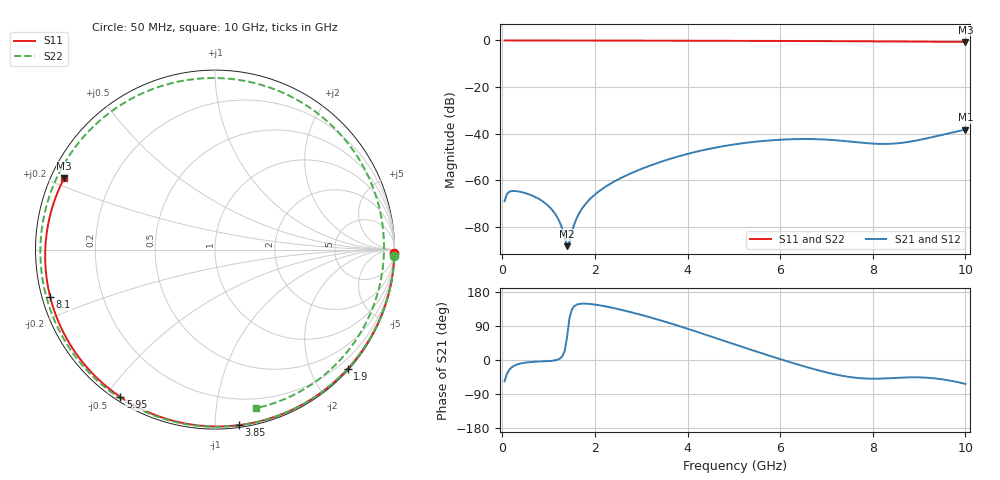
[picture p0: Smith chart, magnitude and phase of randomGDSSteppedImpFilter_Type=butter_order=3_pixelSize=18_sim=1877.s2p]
! freq	dB(S11)	phase(S11)	dB(S12)	phase(S12)
!  dB(S21)	phase(S21)	dB(S22)	phase(S22)
!S-par simulation data
#  GHz  S  DB  R 50
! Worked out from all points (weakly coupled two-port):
!   200 points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, 50 MHz to 10 GHz, reference 50 ohm
!   highest |S21| = -38.29 dB at 10 GHz (marker M1); lowest = -88.3 dB at 1.4 GHz (marker M2)
!   lowest |S11| = -0.6 dB at 10 GHz (marker M3), VSWR 27.52, Z = 1.91 + j11.3 ohm
!   |S11| at or under -10 dB: nowhere
!   |S22| runs from -0.8 to 0.0 dB; largest |S21 - S12| = 0
!   S11 on the Smith chart (normalised r, x): 50 MHz: open; 1.9 GHz: 0.02, -2.60; 3.85 GHz: 0.01, -1.14; 5.95 GHz: 0.02, -0.55; 8.1 GHz: 0.02, -0.14; 10 GHz: 0.04, +0.23
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0.05  -0.00 -1.1  -69.01 -56.0  -69.01 -56.0  -0.00 -2.1
0.1  -0.00 -2.3  -65.87 -36.4  -65.87 -36.4  -0.00 -4.3
0.2  -0.01 -4.5  -64.69 -19.6  -64.69 -19.6  -0.00 -8.6
0.6  -0.01 -13.5  -66.22 -5.4  -66.22 -5.4  -0.02 -25.6
0.95  -0.03 -21.3  -70.25 -3.2  -70.25 -3.2  -0.05 -40.2
1.3  -0.04 -29.0  -81.16 10.6  -81.16 10.6  -0.07 -54.6
1.4  -0.04 -31.2  -88.31 62.1  -88.31 62.1  -0.07 -58.6
1.55  -0.04 -34.4  -79.11 141.5  -79.11 141.5  -0.08 -64.7
1.75  -0.05 -38.8  -71.39 148.8  -71.39 148.8  -0.09 -72.6
1.9  -0.05 -42.0  -67.95 147.8  -67.95 147.8  -0.10 -78.6
2.6  -0.07 -56.8  -58.67 131.5  -58.67 131.5  -0.13 -105.7
3.4  -0.10 -73.3  -52.27 105.3  -52.27 105.3  -0.17 -135.8
3.85  -0.11 -82.3  -49.51 88.4  -49.51 88.4  -0.19 -152.8
4.45  -0.14 -94.1  -46.61 64.4  -46.61 64.4  -0.23 -175.9
5.05  -0.16 -105.7  -44.51 39.9  -44.51 39.9  -0.27 159.9
5.95  -0.21 -122.7  -42.68 4.3  -42.68 4.3  -0.34 120.5
6.7  -0.27 -136.9  -42.34 -23.1  -42.34 -23.1  -0.40 84.2
7.35  -0.32 -149.2  -43.10 -41.9  -43.10 -41.9  -0.44 50.8
8.1  -0.40 -164.0  -44.38 -49.3  -44.38 -49.3  -0.50 11.9
8.35  -0.42 -169.0  -44.39 -48.1  -44.39 -48.1  -0.52 -0.7
9.2  -0.53 173.0  -41.88 -47.0  -41.88 -47.0  -0.63 -41.1
10  -0.63 154.6  -38.29 -63.1  -38.29 -63.1  -0.79 -75.5
